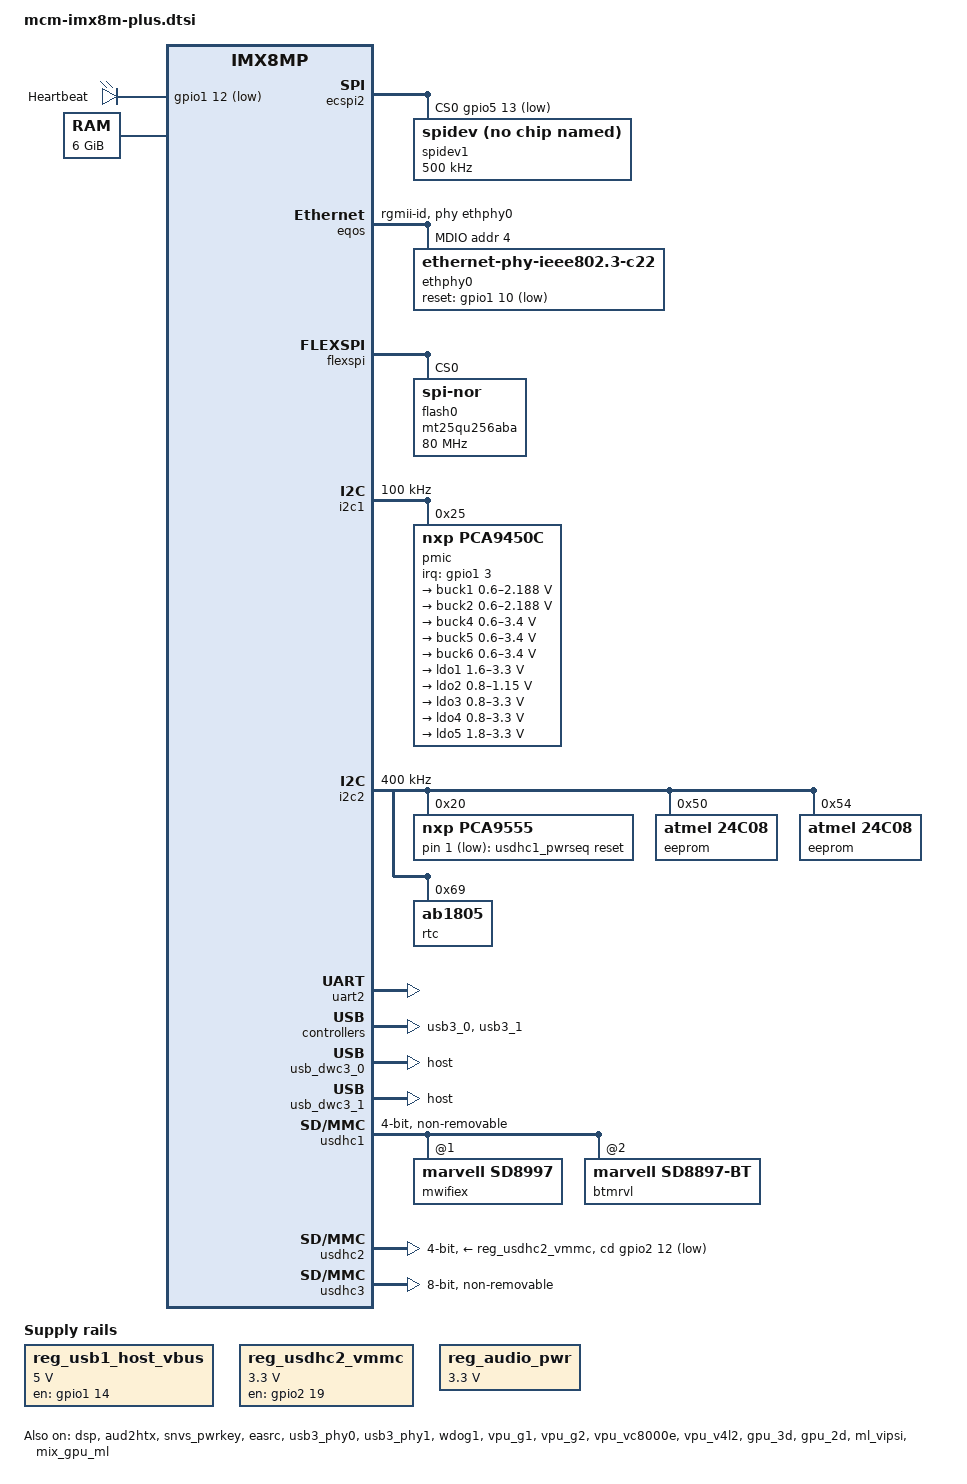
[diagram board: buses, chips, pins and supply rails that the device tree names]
// SPDX-License-Identifier: (GPL-2.0+ OR MIT)
/*
 * Copyright 2021 CompuLab
 */

#include <dt-bindings/usb/pd.h>
#include <dt-bindings/phy/phy-imx8-pcie.h>
#include "../freescale/imx8mp.dtsi"
#include "mcm-imx8m-plus-pinctrl.dtsi"

/ {
	chosen {
		stdout-path = &uart2;
	};

	leds {
		compatible = "gpio-leds";
		pinctrl-names = "default";
		pinctrl-0 = <&pinctrl_gpio_led>;

		heartbeat-led {
			label = "Heartbeat";
			gpios = <&gpio1 12 GPIO_ACTIVE_LOW>;
			linux,default-trigger = "heartbeat";
		};
	};

	memory@40000000 {
		device_type = "memory";
		reg = <0x0 0x40000000 0 0xc0000000>,
		      <0x1 0x00000000 0 0xc0000000>;
	};

	reg_usb1_host_vbus: regulator-usb1-vbus {
		compatible = "regulator-fixed";
		regulator-name = "usb1_host_vbus";
		pinctrl-names = "default";
		pinctrl-0 = <&pinctrl_usb1_vbus>;
		regulator-min-microvolt = <5000000>;
		regulator-max-microvolt = <5000000>;
		gpio = <&gpio1 14 GPIO_ACTIVE_HIGH>;
		enable-active-high;
		regulator-always-on;
	};

	reg_usdhc2_vmmc: regulator-usdhc2 {
		compatible = "regulator-fixed";
		regulator-name = "VSD_3V3";
		regulator-min-microvolt = <3300000>;
		regulator-max-microvolt = <3300000>;
		gpio = <&gpio2 19 GPIO_ACTIVE_HIGH>;
		enable-active-high;
		startup-delay-us = <100>;
		off-on-delay-us = <12000>;
	};

	reg_audio_pwr: regulator-audio-pwr {
		compatible = "regulator-fixed";
		regulator-name = "audio-pwr";
		regulator-min-microvolt = <3300000>;
		regulator-max-microvolt = <3300000>;
		enable-active-high;
		regulator-always-on;
	};

	usdhc1_pwrseq: usdhc1_pwrseq {
		compatible = "mmc-pwrseq-simple";
		reset-gpios = <&pca9555 1 GPIO_ACTIVE_LOW>;
	};

	sound-xcvr {
		compatible = "fsl,imx-audio-card";
		model = "imx-audio-xcvr";
		pri-dai-link {
			link-name = "XCVR PCM";
			cpu {
				sound-dai = <&xcvr>;
			};
		};
	};
};

&A53_0 {
	cpu-supply = <&buck2>;
};

&A53_1 {
	cpu-supply = <&buck2>;
};

&A53_2 {
	cpu-supply = <&buck2>;
};

&A53_3 {
	cpu-supply = <&buck2>;
};

&dsp {
	status = "okay";
};

&aud2htx {
	status = "okay";
};

&ecspi2 {
	#address-cells = <1>;
	#size-cells = <0>;
	fsl,spi-num-chipselects = <1>;
	pinctrl-names = "default";
	pinctrl-0 = <&pinctrl_ecspi2 &pinctrl_ecspi2_cs>;
	cs-gpios = <&gpio5 13 GPIO_ACTIVE_LOW>;
	status = "okay";

	spidev1: spi@0 {
		reg = <0>;
		compatible = "rohm,dh2228fv";
		spi-max-frequency = <500000>;
	};
};

&eqos {
	pinctrl-names = "default";
	pinctrl-0 = <&pinctrl_eqos>;
	phy-mode = "rgmii-id";
	phy-handle = <&ethphy0>;
	snps,force_thresh_dma_mode;
	snps,mtl-tx-config = <&mtl_tx_setup>;
	snps,mtl-rx-config = <&mtl_rx_setup>;
	status = "okay";

	mdio {
		compatible = "snps,dwmac-mdio";
		#address-cells = <1>;
		#size-cells = <0>;

		ethphy0: ethernet-phy@4 {
			compatible = "ethernet-phy-ieee802.3-c22";
			reset-gpios = <&gpio1 10 GPIO_ACTIVE_LOW>;
			reset-assert-us = <10000>;
			reset-deassert-us = <80000>;
			reg = <4>;
			eee-broken-1000t;
			realtek,clkout-disable;
		};

		mtl_tx_setup: tx-queues-config {
			snps,tx-queues-to-use = <5>;
			snps,tx-sched-sp;
			queue0 {
				snps,dcb-algorithm;
				snps,priority = <0x1>;
			};
			queue1 {
				snps,dcb-algorithm;
				snps,priority = <0x2>;
			};
			queue2 {
				snps,dcb-algorithm;
				snps,priority = <0x4>;
			};
			queue3 {
				snps,dcb-algorithm;
				snps,priority = <0x8>;
			};
			queue4 {
				snps,dcb-algorithm;
				snps,priority = <0xf0>;
			};
		};
		mtl_rx_setup: rx-queues-config {
			snps,rx-queues-to-use = <5>;
			snps,rx-sched-sp;
			queue0 {
				snps,dcb-algorithm;
				snps,priority = <0x1>;
				snps,map-to-dma-channel = <0>;
			};
			queue1 {
				snps,dcb-algorithm;
				snps,priority = <0x2>;
				snps,map-to-dma-channel = <1>;
			};
			queue2 {
				snps,dcb-algorithm;
				snps,priority = <0x4>;
				snps,map-to-dma-channel = <2>;
			};
			queue3 {
				snps,dcb-algorithm;
				snps,priority = <0x8>;
				snps,map-to-dma-channel = <3>;
			};
			queue4 {
				snps,dcb-algorithm;
				snps,priority = <0xf0>;
				snps,map-to-dma-channel = <4>;
			};
		};
	};
};

&flexspi {
	pinctrl-names = "default";
	pinctrl-0 = <&pinctrl_flexspi0>;
	status = "okay";

	flash0: mt25qu256aba@0 {
		reg = <0>;
		#address-cells = <1>;
		#size-cells = <1>;
		compatible = "jedec,spi-nor";
		spi-max-frequency = <80000000>;
		spi-tx-bus-width = <4>;
		spi-rx-bus-width = <4>;
	};
};

&i2c1 {
	clock-frequency = <100000>;
	pinctrl-names = "default";
	pinctrl-0 = <&pinctrl_i2c1>;
	status = "okay";

	pmic: pca9450@25 {
		reg = <0x25>;
		compatible = "nxp,pca9450c";
		/* PMIC PCA9450 PMIC_nINT GPIO1_IO3 */
		pinctrl-0 = <&pinctrl_pmic>;
		interrupt-parent = <&gpio1>;
		interrupts = <3 GPIO_ACTIVE_LOW>;

		regulators {
			buck1: BUCK1 {
				regulator-name = "BUCK1";
				regulator-min-microvolt = <600000>;
				regulator-max-microvolt = <2187500>;
				regulator-boot-on;
				regulator-always-on;
				regulator-ramp-delay = <3125>;
			};

			buck2: BUCK2 {
				regulator-name = "BUCK2";
				regulator-min-microvolt = <600000>;
				regulator-max-microvolt = <2187500>;
				regulator-boot-on;
				regulator-always-on;
				regulator-ramp-delay = <3125>;
				nxp,dvs-run-voltage = <950000>;
				nxp,dvs-standby-voltage = <850000>;
			};

			buck4: BUCK4{
				regulator-name = "BUCK4";
				regulator-min-microvolt = <600000>;
				regulator-max-microvolt = <3400000>;
				regulator-boot-on;
				regulator-always-on;
			};

			buck5: BUCK5{
				regulator-name = "BUCK5";
				regulator-min-microvolt = <600000>;
				regulator-max-microvolt = <3400000>;
				regulator-boot-on;
				regulator-always-on;
			};

			buck6: BUCK6 {
				regulator-name = "BUCK6";
				regulator-min-microvolt = <600000>;
				regulator-max-microvolt = <3400000>;
				regulator-boot-on;
				regulator-always-on;
			};

			ldo1: LDO1 {
				regulator-name = "LDO1";
				regulator-min-microvolt = <1600000>;
				regulator-max-microvolt = <3300000>;
				regulator-boot-on;
				regulator-always-on;
			};

			ldo2: LDO2 {
				regulator-name = "LDO2";
				regulator-min-microvolt = <800000>;
				regulator-max-microvolt = <1150000>;
				regulator-boot-on;
				regulator-always-on;
			};

			ldo3: LDO3 {
				regulator-name = "LDO3";
				regulator-min-microvolt = <800000>;
				regulator-max-microvolt = <3300000>;
				regulator-boot-on;
				regulator-always-on;
			};

			ldo4: LDO4 {
				regulator-name = "LDO4";
				regulator-min-microvolt = <800000>;
				regulator-max-microvolt = <3300000>;
				regulator-boot-on;
				regulator-always-on;
			};

			ldo5: LDO5 {
				regulator-name = "LDO5";
				regulator-min-microvolt = <1800000>;
				regulator-max-microvolt = <3300000>;
				regulator-boot-on;
				regulator-always-on;
			};
		};
	};
};

&i2c2 {
	clock-frequency = <400000>;
	pinctrl-names = "default";
	pinctrl-0 = <&pinctrl_i2c2>;
	status = "okay";

	pca9555:pca9555@20 {
		compatible = "nxp,pca9555";
		gpio-controller;
		#gpio-cells = <2>;
		reg = <0x20>;
	};

	eeprom@50 {
		compatible = "atmel,24c08";
		reg = <0x50>;
		pagesize = <16>;
	};

	eeprom@54 {
		compatible = "atmel,24c08";
		reg = <0x54>;
		pagesize = <16>;
	};

	rtc@69 {
		compatible = "ab1805";
		reg = <0x69>;
		pagesize = <16>;
		sqw = "32768_Hz";
		xt-frequency = <32772300>;
		status = "okay";
	};
};

&i2c3 {
	clock-frequency = <100000>;
	pinctrl-names = "default";
	pinctrl-0 = <&pinctrl_i2c3>;
	status = "disabled";
};

&i2c5 {
	clock-frequency = <400000>;
	pinctrl-names = "default";
	pinctrl-0 = <&pinctrl_i2c5>;
	status = "disabled";
};

&i2c6 {
	clock-frequency = <400000>;
	pinctrl-names = "default";
	pinctrl-0 = <&pinctrl_i2c6>;
	status = "disabled";
};

&snvs_pwrkey {
	status = "okay";
};

&easrc {
	fsl,asrc-rate  = <48000>;
	status = "okay";
};

&sai2 {
	#sound-dai-cells = <0>;
	pinctrl-names = "default";
	pinctrl-0 = <&pinctrl_sai2>;
	assigned-clocks = <&clk IMX8MP_CLK_SAI2>;
	assigned-clock-parents = <&clk IMX8MP_AUDIO_PLL1_OUT>;
	assigned-clock-rates = <12288000>;
	status = "disabled";
};

&sai3 {
	#sound-dai-cells = <0>;
	pinctrl-names = "default";
	pinctrl-0 = <&pinctrl_sai3>;
	assigned-clocks = <&clk IMX8MP_CLK_SAI3>;
	assigned-clock-parents = <&clk IMX8MP_AUDIO_PLL1_OUT>;
	assigned-clock-rates = <12288000>;
	status = "disabled";
};

&xcvr {
	#sound-dai-cells = <0>;
	status = "disabled";
};

&sdma2 {
	status = "okay";
};

&uart1 { /* console optional */
	pinctrl-names = "default";
	pinctrl-0 = <&pinctrl_uart1>;
	assigned-clocks = <&clk IMX8MP_CLK_UART1>;
	assigned-clock-parents = <&clk IMX8MP_SYS_PLL1_80M>;
	status = "disabled";
};

&uart2 {
	/* console */
	pinctrl-names = "default";
	pinctrl-0 = <&pinctrl_uart2>;
	assigned-clocks = <&clk IMX8MP_CLK_UART2>;
	assigned-clock-parents = <&clk IMX8MP_SYS_PLL1_80M>;
	status = "okay";
};

&uart3 {
	pinctrl-names = "default";
	pinctrl-0 = <&pinctrl_uart3>;
	assigned-clocks = <&clk IMX8MP_CLK_UART3>;
	assigned-clock-parents = <&clk IMX8MP_SYS_PLL1_80M>;
	status = "disabled";
};

&usb3_phy0 {
	fsl,phy-tx-preemp-amp-tune = <3>;
	status = "okay";
};

&usb3_0 {
	status = "okay";
};

&usb_dwc3_0 {
	dr_mode = "host";
	status = "okay";
};

&usb3_phy1 {
	fsl,phy-tx-preemp-amp-tune = <3>;
	fsl,phy-tx-vref-tune = <0xb>;
	status = "okay";
};

&usb3_1 {
	status = "okay";
};

&usb_dwc3_1 {
	dr_mode = "host";
	status = "okay";
};

&usdhc1 {
	#address-cells = <1>;
	#size-cells = <0>;
	assigned-clocks = <&clk IMX8MP_CLK_USDHC1>;
	assigned-clock-rates = <400000000>;
	pinctrl-names = "default", "state_100mhz", "state_200mhz";
	pinctrl-0 = <&pinctrl_usdhc1>;
	pinctrl-1 = <&pinctrl_usdhc1_100mhz>;
	pinctrl-2 = <&pinctrl_usdhc1_200mhz>;
	mmc-pwrseq = <&usdhc1_pwrseq>;
	bus-width = <4>;
	non-removable;
	keep-power-in-suspend;
	no-1-8-v;
	status = "okay";

	mwifiex: wifi@1 {
		compatible = "marvell,sd8997";
		reg = <1>;
	};

	btmrvl: btmrvl@2 {
		compatible = "marvell,sd8897-bt";
		reg = <2>;
	};
};

&usdhc2 {
	assigned-clocks = <&clk IMX8MP_CLK_USDHC2>;
	assigned-clock-rates = <400000000>;
	pinctrl-names = "default", "state_100mhz", "state_200mhz";
	pinctrl-0 = <&pinctrl_usdhc2>, <&pinctrl_usdhc2_gpio>;
	pinctrl-1 = <&pinctrl_usdhc2_100mhz>, <&pinctrl_usdhc2_gpio>;
	pinctrl-2 = <&pinctrl_usdhc2_200mhz>, <&pinctrl_usdhc2_gpio>;
	cd-gpios = <&gpio2 12 GPIO_ACTIVE_LOW>;
	vmmc-supply = <&reg_usdhc2_vmmc>;
	bus-width = <4>;
	status = "okay";
};

&usdhc3 {
	assigned-clocks = <&clk IMX8MP_CLK_USDHC3>;
	assigned-clock-rates = <400000000>;
	pinctrl-names = "default", "state_100mhz", "state_200mhz";
	pinctrl-0 = <&pinctrl_usdhc3>;
	pinctrl-1 = <&pinctrl_usdhc3_100mhz>;
	pinctrl-2 = <&pinctrl_usdhc3_200mhz>;
	bus-width = <8>;
	non-removable;
	status = "okay";
};

&wdog1 {
	pinctrl-names = "default";
	pinctrl-0 = <&pinctrl_wdog>;
	fsl,ext-reset-output;
	status = "okay";
};

&vpu_g1 {
	status = "okay";
};

&vpu_g2 {
	status = "okay";
};

&vpu_vc8000e {
	status = "okay";
};

&vpu_v4l2 {
	status = "okay";
};

&gpu_3d {
	status = "okay";
};

&gpu_2d {
	status = "okay";
};

&ml_vipsi {
	status = "okay";
};

&mix_gpu_ml {
	status = "okay";
};

&mipi_csi_0 {
	#address-cells = <1>;
	#size-cells = <0>;
	status = "disabled";
};

&mipi_csi_1 {
	#address-cells = <1>;
	#size-cells = <0>;
	status = "disabled";
};


&cameradev {
	status = "disabled";
};

&isi_0 {
	status = "disabled";
	fsl,chain_buf;

	cap_device {
		status = "okay";
	};

};

&isi_1 {
	status = "disabled";
	fsl,chain_buf;

	cap_device {
		status = "okay";
	};
};

&resmem {
	/* global autoconfigured region for contiguous allocations */
	linux,cma {
		compatible = "shared-dma-pool";
		reusable;
		size = <0 0x2c000000>;
		alloc-ranges = <0 0x40000000 0 0x80000000>;
		linux,cma-default;
	};
};
